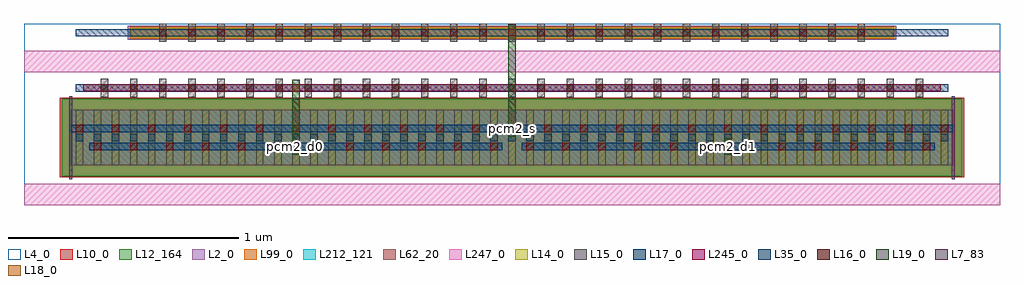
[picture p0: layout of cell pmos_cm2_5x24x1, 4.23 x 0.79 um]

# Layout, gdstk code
import gdstk
lib = gdstk.Library(unit=1e-6, precision=1e-12)
def R(c, l, rs):  # rectangles x0, y0, x1, y1
    for r in rs: c.add(gdstk.rectangle(r[:2], r[2:], *l))
def A(c, l, x, y, w, h, nx, ny, dx, dy):  # array of equal rectangles
    R(c, l, [(x+i*dx, y+j*dy, x+i*dx+w, y+j*dy+h) for i in range(nx) for j in range(ny)])
L2_0 = (2, 0)
L4_0 = (4, 0)
L7_83 = (7, 83)
L10_0 = (10, 0)
L12_164 = (12, 164)
L14_0 = (14, 0)
L15_0 = (15, 0)
L16_0 = (16, 0)
L17_0 = (17, 0)
L18_0 = (18, 0)
L19_0 = (19, 0)
L35_0 = (35, 0)
L62_20 = (62, 20)
L99_0 = (99, 0)
L212_121 = (212, 121)
L245_0 = (245, 0)
L247_0 = (247, 0)

pmos_cm2_5x24x1 = lib.new_cell('pmos_cm2_5x24x1')
R(pmos_cm2_5x24x1, L2_0, [(0,0,3.822,0.24), (0.2462,0.544,3.5758,0.604)])
R(pmos_cm2_5x24x1, L4_0, [(-0.202,-0.174,4.024,0.614)])
R(pmos_cm2_5x24x1, L7_83, [(-0.007,-0.06,0.007,0.3), (3.815,-0.06,3.829,0.3)])
R(pmos_cm2_5x24x1, L10_0, [(-0.048,-0.052,3.87,0.292)])
R(pmos_cm2_5x24x1, L12_164, [(-0.039,-0.048,3.861,0.288)])
A(pmos_cm2_5x24x1, L14_0, 0.022, 0, 0.034, 0.24, 49, 1, 0.078, 0)
R(pmos_cm2_5x24x1, L14_0, [(0.2612,0.554,3.5608,0.594)])
A(pmos_cm2_5x24x1, L15_0, 0.023, 0, 0.032, 0.24, 49, 1, 0.078, 0)
A(pmos_cm2_5x24x1, L15_0, 0.131, 0.295, 0.032, 0.08, 29, 1, 0.126, 0)
A(pmos_cm2_5x24x1, L15_0, 0.383, 0.534, 0.032, 0.08, 25, 1, 0.126, 0)
A(pmos_cm2_5x24x1, L16_0, 0.101, 0.065, 0.032, 0.032, 24, 1, 0.156, 0)
A(pmos_cm2_5x24x1, L16_0, 0.023, 0.143, 0.032, 0.032, 25, 1, 0.156, 0)
A(pmos_cm2_5x24x1, L16_0, 0.131, 0.319, 0.032, 0.032, 29, 1, 0.126, 0)
A(pmos_cm2_5x24x1, L16_0, 0.383, 0.558, 0.032, 0.032, 25, 1, 0.126, 0)
R(pmos_cm2_5x24x1, L17_0, [(0.081,0.065,1.869,0.097), (1.953,0.065,3.741,0.097), (0,0.143,3.822,0.175), (0.023,0.319,3.799,0.351), (0.023,0.558,3.799,0.59)])
R(pmos_cm2_5x24x1, L18_0, [(0.959,0.065,0.991,0.097), (2.831,0.065,2.863,0.097), (1.895,0.143,1.927,0.175), (0.959,0.319,0.991,0.351), (1.895,0.558,1.927,0.59)])
R(pmos_cm2_5x24x1, L19_0, [(0.959,0.045,0.991,0.371), (2.831,0.045,2.863,0.117), (1.895,0.123,1.927,0.61)])
A(pmos_cm2_5x24x1, L35_0, 0.023, 0.104, 0.032, 0.032, 49, 1, 0.078, 0)
A(pmos_cm2_5x24x1, L35_0, 0.131, 0.319, 0.032, 0.032, 29, 1, 0.126, 0)
A(pmos_cm2_5x24x1, L35_0, 0.383, 0.558, 0.032, 0.032, 25, 1, 0.126, 0)
R(pmos_cm2_5x24x1, L62_20, [(0,0,3.822,0.24)])
R(pmos_cm2_5x24x1, L99_0, [(0,0,3.822,0.24), (0.2562,0.549,3.5658,0.599)])
R(pmos_cm2_5x24x1, L212_121, [(0,0,3.822,0.24)])
R(pmos_cm2_5x24x1, L245_0, [(0.055,0.32,3.767,0.35)])
R(pmos_cm2_5x24x1, L247_0, [(-0.202,-0.174,4.024,-0.08), (-0.202,0.402,4.024,0.496)])
pmos_cm2_5x24x1.add(gdstk.Label('pcm2_s', (1.911,0.159), layer=16, texttype=20))
pmos_cm2_5x24x1.add(gdstk.Label('pcm2_d1', (2.847,0.081), layer=16, texttype=20))
pmos_cm2_5x24x1.add(gdstk.Label('pcm2_d0', (0.975,0.081), layer=16, texttype=20))

lib.write_gds('pmos_cm2_5x24x1.gds')
